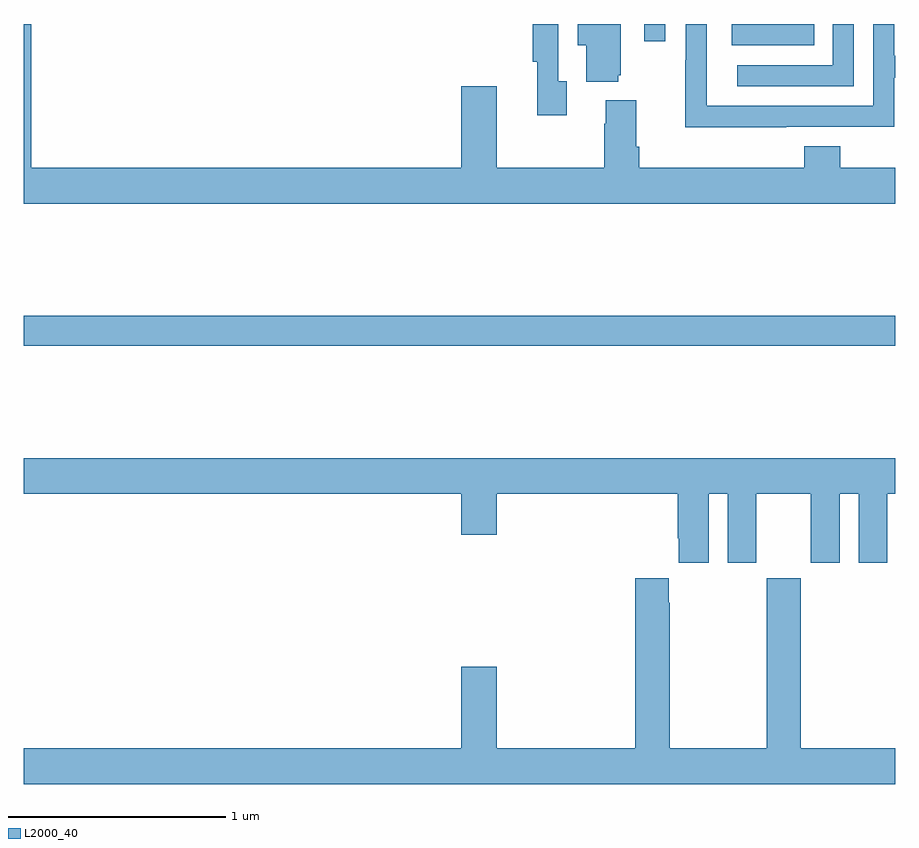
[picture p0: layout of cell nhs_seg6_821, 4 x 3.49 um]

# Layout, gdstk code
import gdstk
lib = gdstk.Library(unit=1e-6, precision=1e-09)
def R(c, l, rs):  # rectangles x0, y0, x1, y1
    for r in rs: c.add(gdstk.rectangle(r[:2], r[2:], *l))
def P(c, l, *ps):  # polygons
    for p in ps: c.add(gdstk.Polygon(p, *l))
L2000_40 = (2000, 40)

nhs_seg6_821 = lib.new_cell('nhs_seg6_821')
R(nhs_seg6_821, L2000_40, [(163,940.024,167,940.16), (166.25,941.402,166.628,941.5), (165.849,941.421,165.945,941.5)])
P(nhs_seg6_821, L2000_40, [(166.499,941.028),(166.995,941.028),(166.995,941.253),(167,941.253),(167,941.354),(166.995,941.354),(166.995,941.5),(166.899,941.5),(166.899,941.124),(166.134,941.124),(166.134,941.5),(166.038,941.5),(166.038,941.333),(166.036,941.333),(166.036,941.027),(166.499,941.027)],
  [(165.493,941.238),(165.453,941.238),(165.453,941.5),(165.337,941.5),(165.337,941.326),(165.356,941.326),(165.356,941.082),(165.493,941.082)],
  [(165.728,941.265),(165.739,941.265),(165.739,941.5),(165.542,941.5),(165.542,941.402),(165.581,941.402),(165.581,941.234),(165.728,941.234)],
  [(166.809,941.5),(166.713,941.5),(166.713,941.31),(166.275,941.31),(166.275,941.214),(166.809,941.214)],
  [(167,940.84),(166.748,940.84),(166.748,940.939),(166.583,940.939),(166.583,940.84),(165.824,940.84),(165.824,940.936),(165.811,940.936),(165.811,941.149),(165.671,941.149),(165.671,941.042),(165.664,941.042),(165.664,940.84),(165.172,940.84),(165.172,941.215),(165.008,941.215),(165.008,940.84),(163.034,940.84),(163.034,941.5),(163,941.5),(163,940.676),(167,940.676)],
  [(166.144,939.344),(166.232,939.344),(166.232,939.027),(166.363,939.027),(166.363,939.344),(166.613,939.344),(166.613,939.027),(166.744,939.027),(166.744,939.344),(166.832,939.344),(166.832,939.027),(166.963,939.027),(166.963,939.344),(167,939.344),(167,939.508),(163,939.508),(163,939.344),(165.008,939.344),(165.008,939.156),(165.172,939.156),(165.172,939.344),(166.001,939.344),(166.001,939.139),(166.007,939.139),(166.007,939.027),(166.144,939.027)],
  [(167,938.176),(166.566,938.176),(166.566,938.956),(166.411,938.956),(166.411,938.176),(165.966,938.176),(165.966,938.843),(165.961,938.843),(165.961,938.956),(165.806,938.956),(165.806,938.176),(165.172,938.176),(165.172,938.551),(165.008,938.551),(165.008,938.176),(163,938.176),(163,938.012),(167,938.012)])

lib.write_gds('nhs_seg6_821.gds')
